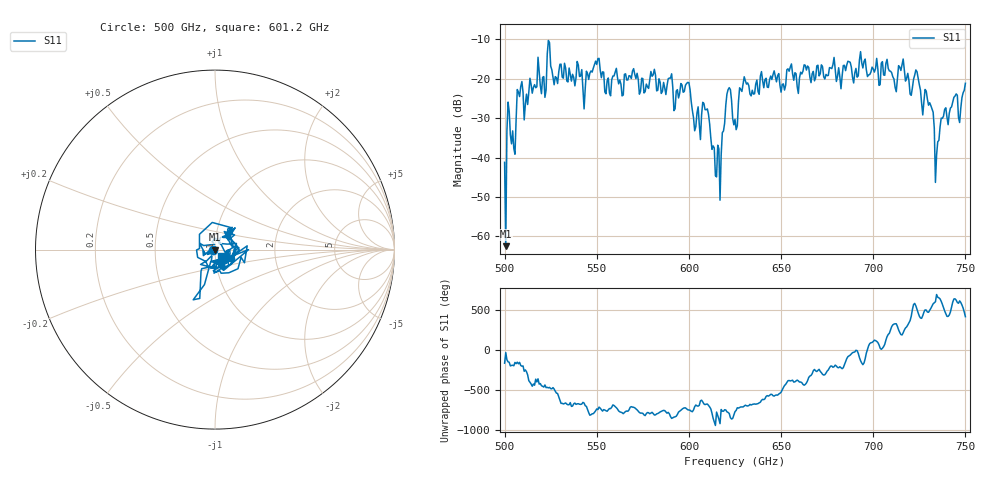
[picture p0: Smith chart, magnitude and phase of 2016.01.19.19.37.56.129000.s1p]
!Created with skrf (http://scikit-rf.org).
# GHz S RI R 50.0
!freq ReS11 ImS11
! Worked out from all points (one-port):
!   401 points, 500 GHz to 750 GHz, reference 50 ohm
!   lowest |S11| = -62.5 dB at 500.6 GHz (marker M1), VSWR 1.00, Z = 50.1 - j0.0402 ohm
!   |S11| at or under -10 dB: start of sweep to end of sweep
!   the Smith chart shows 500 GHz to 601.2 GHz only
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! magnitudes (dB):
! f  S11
! 500 GHz  -41.2
! 500.6 GHz  -62.5
! 502.5 GHz  -28.3
! 505 GHz  -37.7
! 508.1 GHz  -24.5
! 521.2 GHz  -19.5
! 524.4 GHz  -10.9
! 527.5 GHz  -19.5
! 531.2 GHz  -19.6
! 543.8 GHz  -22.4
! 550 GHz  -16.4
! 562.5 GHz  -20.3
! 580.6 GHz  -19.0
! 593.8 GHz  -22.8
! 599.4 GHz  -21.0
! 605 GHz  -27.1
! 608.8 GHz  -27.9
! 615.6 GHz  -36.9
! 621.2 GHz  -22.8
! 625 GHz  -30.3
! 630.6 GHz  -20.5
! 656.2 GHz  -18.8
! 687.5 GHz  -15.9
! 718.8 GHz  -18.7
! 729.4 GHz  -25.2
! 734.4 GHz  -39.3
! 738.1 GHz  -29.5
! 750 GHz  -21.2
